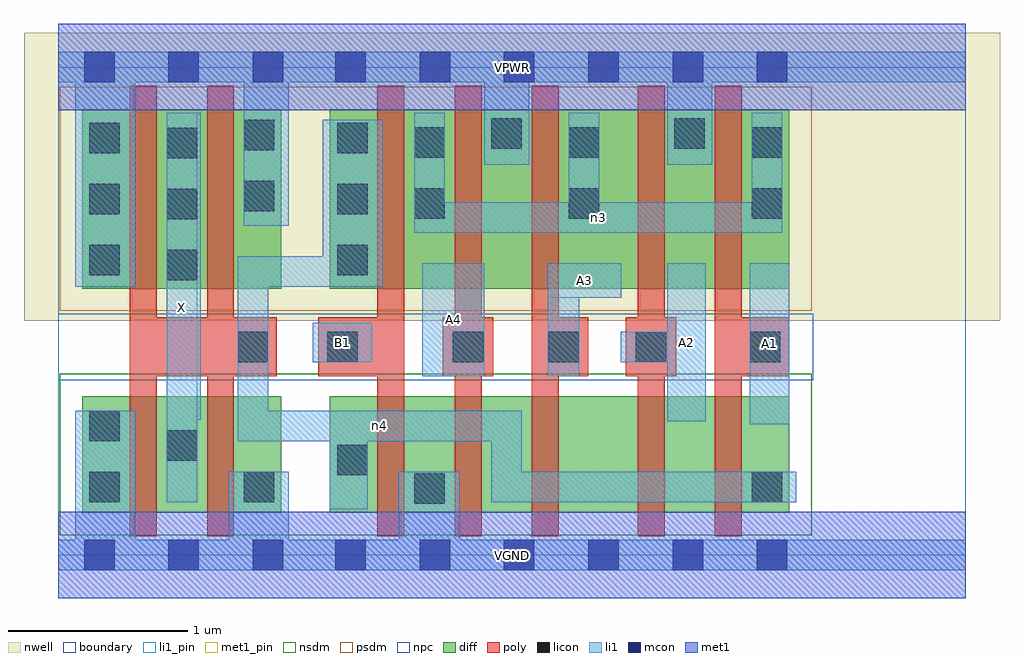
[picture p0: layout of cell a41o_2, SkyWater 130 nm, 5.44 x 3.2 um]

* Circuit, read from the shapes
.subckt a41o_2 A1 A2 A3 A4 B1 VGND VPWR X n3 n4
XM1 X n4 VGND VSUBS sky130_fd_pr__nfet_01v8 w=0.65 l=0.15 m=2
XM2 VGND B1 n4 VSUBS sky130_fd_pr__nfet_01v8 w=0.65 l=0.15
XM3 n1 A4 VGND VSUBS sky130_fd_pr__nfet_01v8 w=0.65 l=0.15
XM4 n2 A3 n1 VSUBS sky130_fd_pr__nfet_01v8 w=0.65 l=0.15
XM5 n5 A2 n2 VSUBS sky130_fd_pr__nfet_01v8 w=0.65 l=0.15
XM6 n4 A1 n5 VSUBS sky130_fd_pr__nfet_01v8 w=0.65 l=0.15
XM7 X n4 VPWR n6 sky130_fd_pr__pfet_01v8 w=1 l=0.15 m=2
XM8 n3 B1 n4 n6 sky130_fd_pr__pfet_01v8 w=1 l=0.15
XM9 VPWR A4 n3 n6 sky130_fd_pr__pfet_01v8 w=1 l=0.15
XM10 n3 A3 VPWR n6 sky130_fd_pr__pfet_01v8 w=1 l=0.15
XM11 VPWR A2 n3 n6 sky130_fd_pr__pfet_01v8 w=1 l=0.15
XM12 n3 A1 VPWR n6 sky130_fd_pr__pfet_01v8 w=1 l=0.15
.ends

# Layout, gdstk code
import gdstk
lib = gdstk.Library(unit=1e-6, precision=1e-09)
def R(c, l, rs):  # rectangles x0, y0, x1, y1
    for r in rs: c.add(gdstk.rectangle(r[:2], r[2:], *l))
def A(c, l, x, y, w, h, nx, ny, dx, dy):  # array of equal rectangles
    R(c, l, [(x+i*dx, y+j*dy, x+i*dx+w, y+j*dy+h) for i in range(nx) for j in range(ny)])
nwell = (64, 20)
diff = (65, 20)
poly = (66, 20)
licon = (66, 44)
li1_pin = (67, 16)
li1 = (67, 20)
mcon = (67, 44)
met1_pin = (68, 16)
met1 = (68, 20)
nsdm = (93, 44)
psdm = (94, 20)
npc = (95, 20)
boundary = (235, 4)

a41o_2 = lib.new_cell('a41o_2')
R(a41o_2, nwell, [(-0.19,1.305,5.25,2.91), (0,1.305,5.06,2.91)])
R(a41o_2, diff, [(0.135,0.235,1.245,0.885), (1.515,0.235,4.075,0.885), (0.135,1.485,1.245,2.485), (1.515,1.485,4.075,2.485)])
A(a41o_2, poly, 1.78, 0.105, 0.15, 2.51, 3, 1, 0.43, 0)
R(a41o_2, poly, [(0.4,0.105,0.55,2.615), (0.83,0.105,0.98,2.615), (3.23,0.105,3.38,2.615), (3.66,0.105,3.81,2.615), (0.4,0.995,1.22,1.325), (1.45,0.995,1.93,1.325), (2.145,0.995,2.425,1.325), (2.64,0.995,2.955,1.325), (3.165,0.995,3.445,1.325), (3.66,0.995,4.075,1.325)])
A(a41o_2, licon, 0.605, 1.53, 0.17, 0.17, 1, 3, 0, 0.34)
A(a41o_2, licon, 0.175, 1.56, 0.17, 0.17, 1, 3, 0, 0.34)
A(a41o_2, licon, 1.555, 1.56, 0.17, 0.17, 1, 3, 0, 0.34)
R(a41o_2, licon, [(1.985,0.285,2.155,0.455), (0.175,0.295,0.345,0.465), (1.035,0.295,1.205,0.465), (3.865,0.295,4.035,0.465), (1.555,0.445,1.725,0.615), (0.605,0.525,0.775,0.695), (0.175,0.635,0.345,0.805), (1,1.075,1.17,1.245), (1.5,1.075,1.67,1.245), (2.2,1.075,2.37,1.245), (2.735,1.075,2.905,1.245), (3.22,1.075,3.39,1.245), (3.855,1.075,4.025,1.245), (1.985,1.875,2.155,2.045), (2.845,1.875,3.015,2.045), (3.865,1.875,4.035,2.045), (1.035,1.915,1.205,2.085), (1.985,2.215,2.155,2.385), (2.845,2.215,3.015,2.385), (3.865,2.215,4.035,2.385), (1.035,2.255,1.205,2.425), (2.415,2.265,2.585,2.435), (3.435,2.265,3.605,2.435)])
R(a41o_2, li1_pin, [(0.605,0.295,0.775,2.465), (3.855,0.73,4.075,1.625), (3.395,0.745,3.61,1.625), (2.03,0.995,2.375,1.625), (1.42,1.075,1.75,1.295), (2.73,1.435,3.14,1.625)])
R(a41o_2, li1, [(0,-0.085,5.06,0.085), (0.095,-0.085,0.43,0.805), (0.95,-0.085,1.285,0.465), (1.9,-0.085,2.24,0.465), (1.515,0.255,1.725,0.805), (0.605,0.295,0.775,2.465), (2.415,0.295,4.115,0.465), (2.415,0.295,2.585,0.805), (1,0.635,2.585,0.805), (1,0.635,1.17,1.665), (3.855,0.73,4.075,1.625), (3.395,0.745,3.61,1.625), (0.605,0.755,0.795,2.465), (2.03,0.995,2.375,1.625), (2.73,0.995,2.905,1.625), (1.42,1.075,1.75,1.295), (3.135,1.075,3.61,1.245), (2.73,1.435,3.14,1.625), (0.095,1.495,0.43,2.805), (1,1.495,1.81,1.665), (1.475,1.495,1.81,2.425), (1.985,1.795,4.035,1.965), (1.985,1.795,2.155,2.465), (2.845,1.795,3.015,2.465), (3.865,1.795,4.035,2.465), (1.035,1.835,1.285,2.805), (2.375,2.175,2.625,2.805), (3.395,2.175,3.645,2.805), (0,2.635,5.06,2.805)])
A(a41o_2, mcon, 0.145, -0.085, 0.17, 0.17, 3, 2, 0.47, 2.72)
A(a41o_2, mcon, 1.545, -0.085, 0.17, 0.17, 6, 2, 0.47, 2.72)
R(a41o_2, met1_pin, [(0,-0.24,5.06,0.24), (0,2.48,5.06,2.96)])
R(a41o_2, met1, [(0,-0.24,5.06,0.24), (0,2.48,5.06,2.96)])
R(a41o_2, nsdm, [(0.01,0.11,4.2,1.01)])
R(a41o_2, psdm, [(0.01,1.36,4.2,2.61)])
R(a41o_2, npc, [(0,0.975,4.21,1.345)])
R(a41o_2, boundary, [(0,0,5.06,2.72)])
a41o_2.add(gdstk.Label('A1', (3.965,1.177), layer=67, texttype=5))
a41o_2.add(gdstk.Label('A2', (3.502,1.185), layer=67, texttype=5))
a41o_2.add(gdstk.Label('A3', (2.935,1.53), layer=67, texttype=5))
a41o_2.add(gdstk.Label('A4', (2.202,1.31), layer=67, texttype=5))
a41o_2.add(gdstk.Label('B1', (1.585,1.185), layer=67, texttype=5))
a41o_2.add(gdstk.Label('X', (0.69,1.38), layer=67, texttype=5))
a41o_2.add(gdstk.Label('n4', (1.792,0.72), layer=67, texttype=5))
a41o_2.add(gdstk.Label('n3', (3.01,1.88), layer=67, texttype=5))
a41o_2.add(gdstk.Label('VPWR', (2.53,2.72), layer=68, texttype=5))
a41o_2.add(gdstk.Label('VGND', (2.53,0), layer=68, texttype=5))
a41o_2.add(gdstk.Label('A1', (3.965,1.177), layer=67, texttype=16))
a41o_2.add(gdstk.Label('A2', (3.502,1.185), layer=67, texttype=16))
a41o_2.add(gdstk.Label('A3', (2.935,1.53), layer=67, texttype=16))
a41o_2.add(gdstk.Label('A4', (2.202,1.31), layer=67, texttype=16))
a41o_2.add(gdstk.Label('B1', (1.585,1.185), layer=67, texttype=16))
a41o_2.add(gdstk.Label('X', (0.69,1.38), layer=67, texttype=16))
a41o_2.add(gdstk.Label('VPWR', (2.53,2.72), layer=68, texttype=16))
a41o_2.add(gdstk.Label('VGND', (2.53,0), layer=68, texttype=16))

lib.write_gds('a41o_2.gds')
